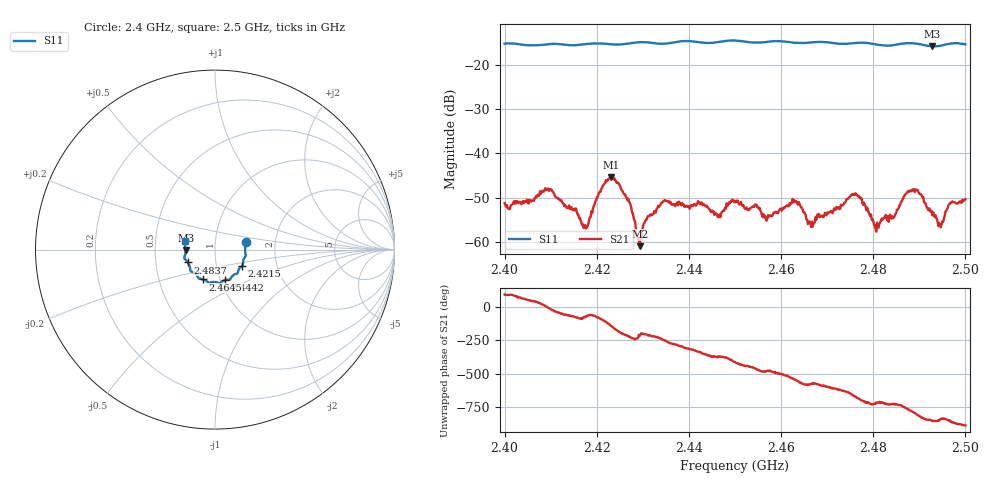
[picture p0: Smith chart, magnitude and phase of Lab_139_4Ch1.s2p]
# Hz S RI R 50
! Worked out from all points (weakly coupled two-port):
!   601 points, 2.4 GHz to 2.5 GHz, reference 50 ohm
!   highest |S21| = -45.43 dB at 2.4232 GHz (marker M1); lowest = -61.0 dB at 2.4293 GHz (marker M2)
!   lowest |S11| = -15.7 dB at 2.4928 GHz (marker M3), VSWR 1.39, Z = 36 - j0.367 ohm
!   |S11| at or under -10 dB: start of sweep to end of sweep
!   S12 and S22 are empty: the file has one direction only
!   S11 on the Smith chart (normalised r, x): 2.4 GHz: 1.41, +0.12; 2.4215 GHz: 1.33, -0.25; 2.4442 GHz: 1.05, -0.37; 2.4645 GHz: 0.83, -0.29; 2.4837 GHz: 0.73, -0.11; 2.5 GHz: 0.71, +0.07
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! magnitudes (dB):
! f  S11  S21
! 2.4 GHz  -15.1  -51.2
! 2.4097 GHz  -15.2  -48.5
! 2.4167 GHz  -15.3  -55.7
! 2.4182 GHz  -15.2  -55.9
! 2.4215 GHz  -15.1  -47.1
! 2.4232 GHz  -15.2  -45.4
! 2.427 GHz  -15.1  -50.9
! 2.4293 GHz  -14.8  -61.0
! 2.4333 GHz  -15.1  -51.8
! 2.4442 GHz  -15.0  -52.2
! 2.45 GHz  -14.4  -50.7
! 2.4565 GHz  -14.8  -54.1
! 2.4645 GHz  -15.0  -52.3
! 2.4667 GHz  -14.8  -55.4
! 2.4758 GHz  -15.0  -49.1
! 2.4807 GHz  -15.3  -57.7
! 2.4833 GHz  -15.6  -55.5
! 2.4837 GHz  -15.5  -53.9
! 2.4883 GHz  -15.0  -48.6
! 2.4928 GHz  -15.7  -54.0
! 2.4947 GHz  -15.6  -56.7
! 2.5 GHz  -15.3  -50.4
